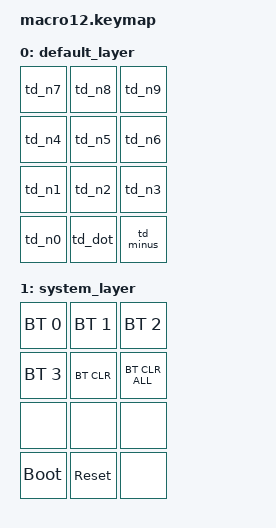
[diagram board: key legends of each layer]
#include <behaviors.dtsi>
#include <dt-bindings/zmk/keys.h>
#include <dt-bindings/zmk/bt.h>

/ {
    behaviors {
        // --- Row 1 (Top): 7, 8, 9 ---
        td_n7: td_n7 {
            compatible = "zmk,behavior-tap-dance";
            label = "TD_N7";
            #binding-cells = <0>;
            tapping-term-ms = <300>;
            bindings = <&kp S>, <&kp KP_N7>; 
        };
        td_n8: td_n8 {
            compatible = "zmk,behavior-tap-dance";
            label = "TD_N8";
            #binding-cells = <0>;
            tapping-term-ms = <300>;
            bindings = <&kp F5>, <&kp KP_N8>;
        };
        td_n9: td_n9 {
            compatible = "zmk,behavior-tap-dance";
            label = "TD_N9";
            #binding-cells = <0>;
            tapping-term-ms = <300>;
            bindings = <&kp F11>, <&kp KP_N9>;
        };

        // --- Row 2: 4, 5, 6 ---
        td_n4: td_n4 {
            compatible = "zmk,behavior-tap-dance";
            label = "TD_N4";
            #binding-cells = <0>;
            tapping-term-ms = <300>;
            bindings = <&kp F>, <&kp KP_N4>; 
        };
        td_n5: td_n5 {
            compatible = "zmk,behavior-tap-dance";
            label = "TD_N5";
            #binding-cells = <0>;
            tapping-term-ms = <300>;
            bindings = <&kp SPACE>, <&kp KP_N5>;
        };
        td_n6: td_n6 {
            compatible = "zmk,behavior-tap-dance";
            label = "TD_N6";
            #binding-cells = <0>;
            tapping-term-ms = <300>;
            bindings = <&kp R>, <&kp KP_N6>;
        };

        // --- Row 3: 1, 2, 3 ---
        td_n1: td_n1 {
            compatible = "zmk,behavior-tap-dance";
            label = "TD_N1";
            #binding-cells = <0>;
            tapping-term-ms = <300>;
            bindings = <&kp BSPC>, <&kp KP_N1>;
        };
        td_n2: td_n2 {
            compatible = "zmk,behavior-tap-dance";
            label = "TD_N2";
            #binding-cells = <0>;
            tapping-term-ms = <300>;
            bindings = <&kp A>, <&kp KP_N2>;
        };
        td_n3: td_n3 {
            compatible = "zmk,behavior-tap-dance";
            label = "TD_N3";
            #binding-cells = <0>;
            tapping-term-ms = <300>;
            bindings = <&kp ENTER>, <&kp KP_N3>; 
        };

        // --- Row 4 (Bottom): Symbols / 0, . ---
        td_n0: td_n0 {
            compatible = "zmk,behavior-tap-dance";
            label = "TD_N0";
            #binding-cells = <0>;
            tapping-term-ms = <300>;
            bindings = <&kp KP_DIVIDE>, <&kp KP_N0>;
        };
        td_dot: td_dot {
            compatible = "zmk,behavior-tap-dance";
            label = "TD_DOT";
            #binding-cells = <0>;
            tapping-term-ms = <300>;
            bindings = <&kp KP_MULTIPLY>, <&kp KP_DOT>;
        };
        td_minus: td_minus {
            compatible = "zmk,behavior-tap-dance";
            label = "TD_MINUS";
            #binding-cells = <0>;
            tapping-term-ms = <300>;
            bindings = <&kp KP_MINUS>, <&kp ENTER>; 
        };
    };

    combos {
        compatible = "zmk,combos";
        // Combo auf Taste 6 (td_n1) und 8 (td_n3) gleichzeitig halten aktiviert das System-Layer
        combo_sys_layer {
            timeout-ms = <50>;
            key-positions = <6 8>;
            bindings = <&mo 1>;
        };
    };

    keymap {
        compatible = "zmk,keymap";

        // Layer 0: Default (Autodarts / Numpad)
        default_layer {
            bindings = <
                &td_n7         &td_n8          &td_n9      
                &td_n4         &td_n5          &td_n6      
                &td_n1         &td_n2          &td_n3      
                &td_n0         &td_dot         &td_minus      
            >;
        };

        // Layer 1: System (Bluetooth & Maintenance)
        // Erreichbar durch Halten der Tasten 6 + 8
        system_layer {
            bindings = <
                &bt BT_SEL 0   &bt BT_SEL 1    &bt BT_SEL 2
                &bt BT_SEL 3   &bt BT_CLR      &bt BT_CLR_ALL
                &none          &none           &none
                &bootloader    &sys_reset      &none
            >;
        };
    };
};
